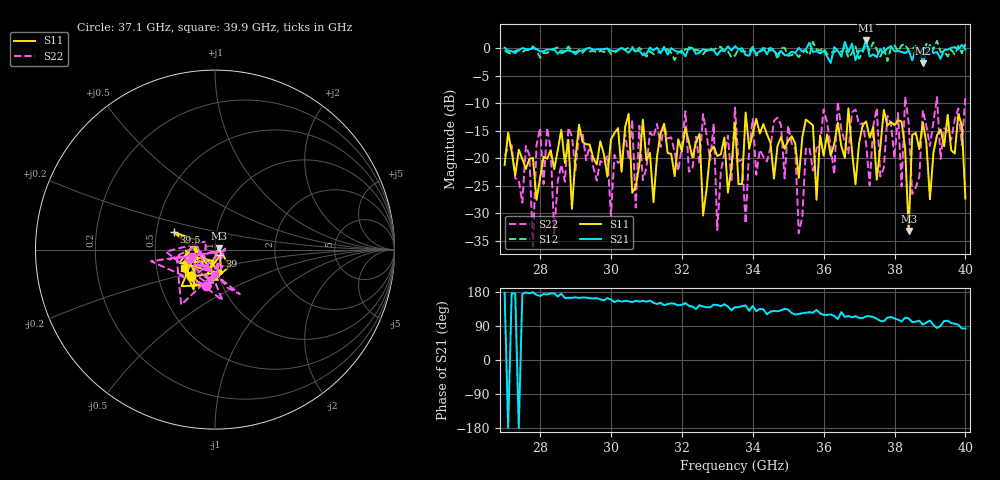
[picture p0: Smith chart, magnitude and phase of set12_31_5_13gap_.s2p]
! Quiescent point : V1=-1.55280E-02 I1=+1.25123E-03 V2=-2.17641E-02 I2=-1.24173E-03
! Pulsed point : V1=-1.61527E-02 I1=+1.28892E-03 V2=-2.23304E-02 I2=-1.25758E-03
! Period : +2.00000E-04
! Input Supply timing : delay=+1.60000E-06 width=+2.20000E-06
! Output Supply timing : delay=+1.70000E-06 width=+2.00000E-06
! VNA timing : delay=+2.40000E-06 width=+1.10000E-06
# Hz S RI R 50
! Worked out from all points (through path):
!   131 points, 27 GHz to 40 GHz, reference 50 ohm
!   highest |S21| = 1.41 dB at 37.2 GHz (marker M1); lowest = -2.8 dB at 38.8 GHz (marker M2)
!   group delay of S21, straight-line fit = 18.6 ps
!   lowest |S11| = -33.2 dB at 38.4 GHz (marker M3), VSWR 1.04, Z = 52.1 + j0.783 ohm
!   |S11| at or under -10 dB: start of sweep to end of sweep
!   |S22| runs from -35.9 to -8.8 dB; largest |S21 - S12| = 0.37
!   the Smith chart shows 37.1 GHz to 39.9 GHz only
!   S11 on the Smith chart (normalised r, x): 37.1 GHz: 0.74, -0.23; 39 GHz: 1.05, -0.07; 39.5 GHz: 0.62, +0.13; 39.9 GHz: 0.69, -0.15
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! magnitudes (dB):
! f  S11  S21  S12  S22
! 27 GHz  -21.2  0.1  -0.4  -19.5
! 27.7 GHz  -20.1  -0.2  -0.3  -19.4
! 27.8 GHz  -19.9  0.0  0.3  -35.9
! 28 GHz  -23.6  -0.6  -1.8  -14.5
! 28.4 GHz  -22.0  -0.2  0.0  -33.7
! 29.2 GHz  -17.0  -0.4  -0.8  -15.4
! 31.4 GHz  -15.5  -0.9  -0.7  -17.9
! 32.9 GHz  -17.9  -0.4  -0.4  -13.7
! 33 GHz  -19.6  -1.3  0.2  -33.0
! 33.5 GHz  -13.5  0.4  -1.3  -10.8
! 33.8 GHz  -11.7  -1.2  -0.6  -31.8
! 34 GHz  -15.5  0.1  0.3  -12.8
! 35.7 GHz  -14.0  -0.7  1.2  -22.2
! 37.1 GHz  -14.0  -0.4  -0.7  -13.6
! 37.2 GHz  -13.3  1.4  0.8  -17.4
! 37.9 GHz  -13.4  0.4  0.1  -13.7
! 38.4 GHz  -33.2  -0.4  -0.5  -13.5
! 38.8 GHz  -13.5  -2.8  -1.2  -11.3
! 39 GHz  -27.4  0.6  0.3  -17.7
! 39.5 GHz  -12.1  -0.2  -1.5  -14.8
! 39.9 GHz  -13.9  0.6  -0.9  -17.6
! 40 GHz  -27.3  -0.3  0.8  -8.9
